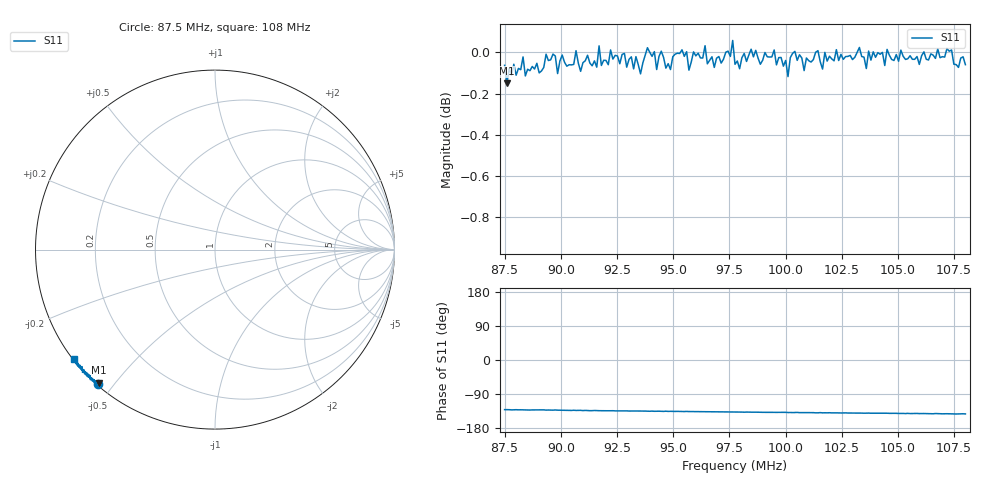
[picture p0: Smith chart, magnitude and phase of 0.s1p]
!Agilent Technologies,N5225A,MY51441201,A.09.90.19
!Agilent N5225A: A.09.90.19
!Date: Wednesday, April 25, 2018 14:38:58
!Correction: S11(Full 1 Port(1))
!S1P File: Measurement: S11:
# Hz S  dB  R 50
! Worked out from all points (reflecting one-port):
!   201 points, 87.5 MHz to 108 MHz, reference 50 ohm
!   lowest |S11| = -0.2 dB at 87.6 MHz (marker M1), VSWR 115.17, Z = 0.524 - j22.8 ohm
!   phase of S11 starts at -131 deg and turns -11 deg over the sweep
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8.75e7  -0.06 -131.0
8.76025e7  -0.15 -131.0
9.00625e7  -0.01 -132.6
9.0575e7  -0.06 -132.7
9.06775e7  0.01 -133.1
9.08825e7  -0.09 -132.8
9.17025e7  0.03 -133.8
9.2625e7  -0.05 -134.0
9.35475e7  -0.10 -134.7
9.3855e7  0.02 -135.1
9.4265e7  -0.08 -135.2
9.45725e7  -0.02 -135.6
9.4675e7  -0.08 -135.1
9.51875e7  -0.00 -135.6
9.68275e7  -0.07 -136.7
9.74425e7  0.01 -136.7
9.775e7  -0.06 -137.4
9.86725e7  0.01 -137.4
9.88775e7  -0.06 -138.0
9.98e7  -0.02 -138.0
1.001075e8  -0.12 -138.6
1.003125e8  -0.00 -138.7
1.00825e8  -0.09 -138.8
1.013375e8  0.00 -139.4
1.02875e8  -0.01 -139.9
1.054375e8  -0.03 -140.8
1.07385e8  0.01 -142.2
1.08e8  -0.06 -142.3
